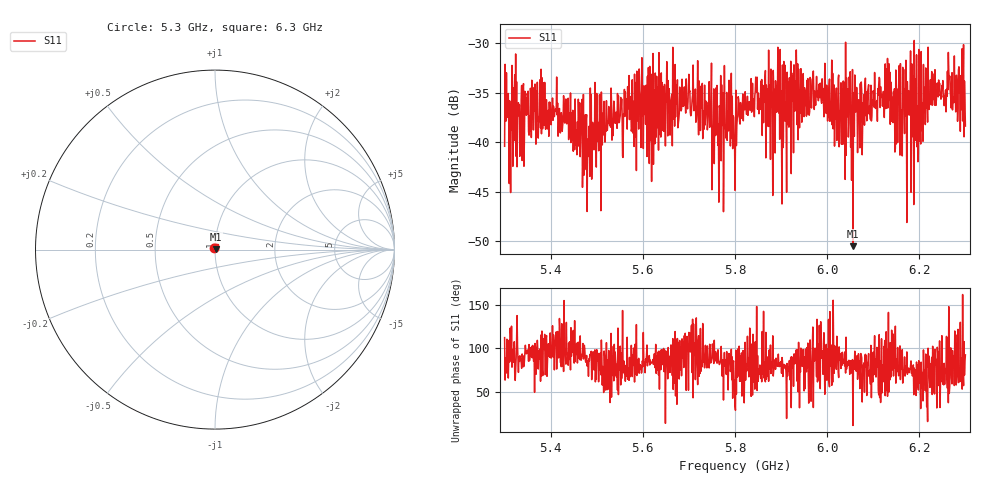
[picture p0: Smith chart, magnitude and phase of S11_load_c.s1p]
! NanoVNA-App
! Date: 2026-11-04 23:58:59
! Start: 5,3GHz Stop: 6,3GHz Points: 1001
! S-Parameter data: F S11
# Hz S RI R 50
!  Frequency  S11_Real  S11_Imag
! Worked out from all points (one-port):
!   1001 points, 5.3 GHz to 6.3 GHz, reference 50 ohm
!   lowest |S11| = -50.5 dB at 6.056 GHz (marker M1), VSWR 1.01, Z = 50.3 + j0.0611 ohm
!   |S11| at or under -10 dB: start of sweep to end of sweep
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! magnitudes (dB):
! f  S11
! 5.3 GHz  -40.4
! 5.314 GHz  -36.9
! 5.321 GHz  -35.0
! 5.33 GHz  -36.0
! 5.361 GHz  -34.7
! 5.425 GHz  -38.9
! 5.484 GHz  -39.5
! 5.55 GHz  -37.6
! 5.675 GHz  -33.7
! 5.744 GHz  -33.9
! 5.755 GHz  -42.2
! 5.792 GHz  -33.0
! 5.8 GHz  -44.9
! 5.843 GHz  -35.3
! 5.882 GHz  -45.4
! 5.893 GHz  -30.4
! 5.907 GHz  -36.2
! 5.925 GHz  -35.0
! 6.05 GHz  -32.9
! 6.056 GHz  -50.5
! 6.065 GHz  -35.9
! 6.131 GHz  -31.5
! 6.145 GHz  -37.5
! 6.175 GHz  -36.4
! 6.198 GHz  -41.0
! 6.266 GHz  -33.3
! 6.291 GHz  -34.0
! 6.3 GHz  -38.4
